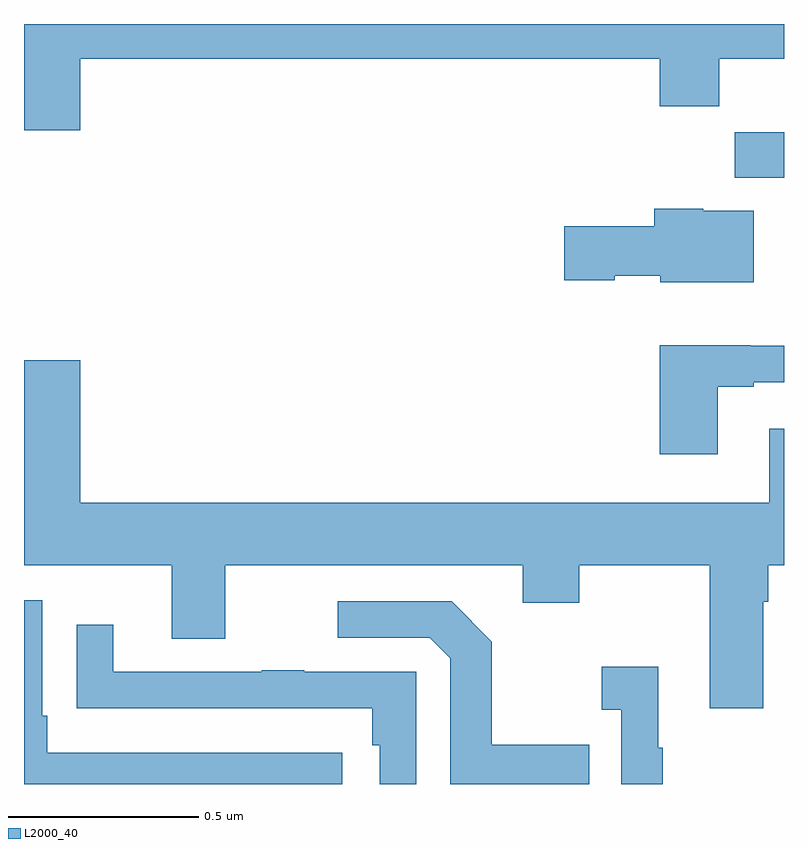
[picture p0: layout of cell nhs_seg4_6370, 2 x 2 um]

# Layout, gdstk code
import gdstk
lib = gdstk.Library(unit=1e-6, precision=1e-09)
def R(c, l, rs):  # rectangles x0, y0, x1, y1
    for r in rs: c.add(gdstk.rectangle(r[:2], r[2:], *l))
def P(c, l, *ps):  # polygons
    for p in ps: c.add(gdstk.Polygon(p, *l))
L2000_40 = (2000, 40)

nhs_seg4_6370 = lib.new_cell('nhs_seg4_6370')
R(nhs_seg4_6370, L2000_40, [(190.87,808.496,191,808.615)])
P(nhs_seg4_6370, L2000_40, [(189.148,808.808),(190.673,808.808),(190.673,808.684),(190.829,808.684),(190.829,808.808),(191,808.808),(191,808.9),(189,808.9),(189,808.62),(189.148,808.62)],
  [(190.921,808.408),(190.788,808.408),(190.788,808.414),(190.658,808.414),(190.658,808.368),(190.422,808.368),(190.422,808.226),(190.554,808.226),(190.554,808.238),(190.674,808.238),(190.674,808.22),(190.921,808.22)],
  [(190.825,807.945),(190.921,807.945),(190.921,807.957),(191,807.957),(191,808.053),(190.913,808.053),(190.913,808.054),(190.673,808.054),(190.673,807.768),(190.825,807.768)],
  [(190.945,807.38),(190.958,807.38),(190.958,807.476),(191,807.476),(191,807.835),(190.961,807.835),(190.961,807.64),(189.148,807.64),(189.148,808.015),(189,808.015),(189,807.476),(189.389,807.476),(189.389,807.282),(189.529,807.282),(189.529,807.476),(190.313,807.476),(190.313,807.377),(190.461,807.377),(190.461,807.476),(190.805,807.476),(190.805,807.099),(190.945,807.099)],
  [(189.838,806.982),(189.061,806.982),(189.061,807.079),(189.048,807.079),(189.048,807.384),(189,807.384),(189,806.9),(189.838,806.9)],
  [(190.487,807.003),(190.231,807.003),(190.231,807.275),(190.125,807.381),(189.825,807.381),(189.825,807.285),(190.068,807.285),(190.122,807.231),(190.122,806.9),(190.487,806.9)],
  [(190.032,807.195),(189.737,807.195),(189.737,807.2),(189.625,807.2),(189.625,807.195),(189.235,807.195),(189.235,807.319),(189.139,807.319),(189.139,807.1),(189.241,807.1),(189.241,807.099),(189.916,807.099),(189.916,807.002),(189.936,807.002),(189.936,806.9),(190.032,806.9)],
  [(190.681,806.995),(190.669,806.995),(190.669,807.208),(190.521,807.208),(190.521,807.095),(190.572,807.095),(190.572,806.9),(190.681,806.9)])

lib.write_gds('nhs_seg4_6370.gds')
